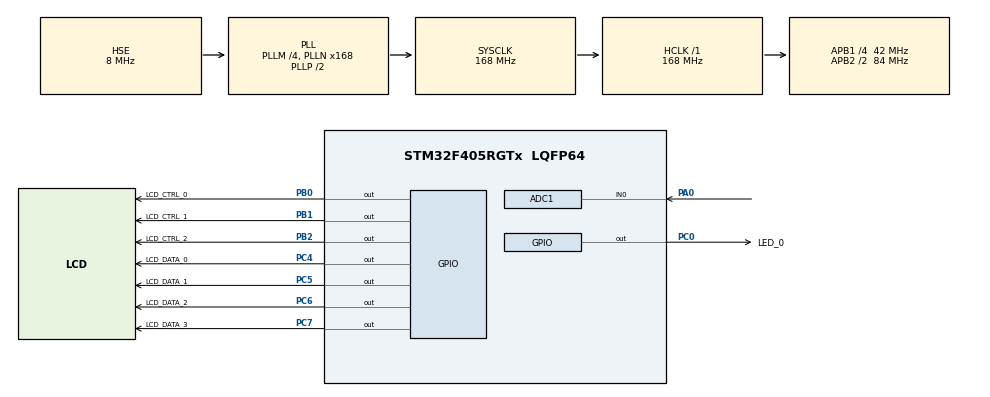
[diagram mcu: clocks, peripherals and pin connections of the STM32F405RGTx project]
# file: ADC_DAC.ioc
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ADC1.Channel-0\#ChannelRegularConversion=ADC_CHANNEL_0
ADC1.NbrOfConversion=1
ADC1.NbrOfConversionFlag=1
ADC1.Rank-0\#ChannelRegularConversion=1
ADC1.SamplingTime-0\#ChannelRegularConversion=ADC_SAMPLETIME_3CYCLES
ADC1.master=1
Mcu.Family=STM32F4
Mcu.Name=STM32F405RGTx
Mcu.Package=LQFP64
NVIC.PriorityGroup=NVIC_PRIORITYGROUP_4
PA0-WKUP.Signal=ADCx_IN0
PA13.Mode=Serial_Wire
PA13.Signal=SYS_JTMS-SWDIO
PA14.Mode=Serial_Wire
PA14.Signal=SYS_JTCK-SWCLK
PB0.GPIO_Label=LCD_CTRL_0
PB0.Signal=GPIO_Output
PB1.GPIO_Label=LCD_CTRL_1
PB1.Signal=GPIO_Output
PB2.GPIO_Label=LCD_CTRL_2
PB2.Signal=GPIO_Output
PC0.GPIO_Label=LED_0
PC0.Signal=GPIO_Output
PC4.GPIO_Label=LCD_DATA_0
PC4.Signal=GPIO_Output
PC5.GPIO_Label=LCD_DATA_1
PC5.Signal=GPIO_Output
PC6.GPIO_Label=LCD_DATA_2
PC6.Signal=GPIO_Output
PC7.GPIO_Label=LCD_DATA_3
PC7.Signal=GPIO_Output
PH0-OSC_IN.Mode=HSE-External-Oscillator
PH0-OSC_IN.Signal=RCC_OSC_IN
PH1-OSC_OUT.Mode=HSE-External-Oscillator
PH1-OSC_OUT.Signal=RCC_OSC_OUT
ProjectManager.HeapSize=0x200
ProjectManager.StackSize=0x400
ProjectManager.TargetToolchain=EWARM V8.32
RCC.48MHZClocksFreq_Value=84000000
RCC.AHBFreq_Value=168000000
RCC.APB1CLKDivider=RCC_HCLK_DIV4
RCC.APB1Freq_Value=42000000
RCC.APB1TimFreq_Value=84000000
RCC.APB2CLKDivider=RCC_HCLK_DIV2
RCC.APB2Freq_Value=84000000
RCC.APB2TimFreq_Value=168000000
RCC.CortexFreq_Value=168000000
RCC.HCLKFreq_Value=168000000
RCC.HSE_VALUE=8000000
RCC.HSI_VALUE=16000000
RCC.LSE_VALUE=32768
RCC.PLLM=4
RCC.PLLN=168
RCC.PLLSourceVirtual=RCC_PLLSOURCE_HSE
RCC.SYSCLKFreq_VALUE=168000000
RCC.SYSCLKSource=RCC_SYSCLKSOURCE_PLLCLK
RCC.VCOOutputFreq_Value=336000000
SH.ADCx_IN0.0=ADC1_IN0,IN0
board=custom

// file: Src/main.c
/* USER CODE BEGIN Header */
/**
  ******************************************************************************
  * @file           : main.c
  * @brief          : Main program body
  ******************************************************************************
  * @attention
  *
  * <h2><center>&copy; Copyright (c) 2020 STMicroelectronics.
  * All rights reserved.</center></h2>
  *
  * This software component is licensed by ST under BSD 3-Clause license,
  * the "License"; You may not use this file except in compliance with the
  * License. You may obtain a copy of the License at:
  *                        opensource.org/licenses/BSD-3-Clause
  *
  ******************************************************************************
  */
/* USER CODE END Header */

#include "main.h"
#include "adc.h"
#include "gpio.h"

/* USER CODE BEGIN Includes */
#include "lcd.h"
#include <stdio.h>
#include <string.h>
/* USER CODE END Includes */

/* USER CODE BEGIN PD */
#define BUF_MAX 16
/* USER CODE END PD */

/* USER CODE BEGIN PV */
char buffer[BUF_MAX];
/* USER CODE END PV */

void SystemClock_Config(void);

int main(void)
{

  /* MCU Configuration--------------------------------------------------------*/

  /* Reset of all peripherals, Initializes the Flash interface and the Systick. */
  HAL_Init();

  /* Configure the system clock */
  SystemClock_Config();

  /* Initialize all configured peripherals */
  MX_GPIO_Init();
  MX_ADC1_Init();
  /* USER CODE BEGIN 2 */
    lcdInit();

  /* USER CODE END 2 */

  /* Infinite loop */
  /* USER CODE BEGIN WHILE */
  while (1)
  {
      HAL_ADC_Start(&hadc1);
      HAL_ADC_PollForConversion(&hadc1, HAL_MAX_DELAY);
      uint16_t cdsValue = HAL_ADC_GetValue(&hadc1);
      HAL_ADC_Stop(&hadc1);

      sprintf(buffer, "CDS : %4d", cdsValue);
      lcdGotoXY(0, 0);
      lcdPrintData(buffer, strlen(buffer));

      if(cdsValue < 1000)
      {
          HAL_GPIO_WritePin(LED_0_GPIO_Port, LED_0_Pin, GPIO_PIN_SET);
      }
      else
      {
          HAL_GPIO_WritePin(LED_0_GPIO_Port, LED_0_Pin, GPIO_PIN_RESET);
      }
      HAL_Delay(333);
    /* USER CODE END WHILE */

  }
}

void SystemClock_Config(void)
{
  RCC_OscInitTypeDef RCC_OscInitStruct = {0};
  RCC_ClkInitTypeDef RCC_ClkInitStruct = {0};

  /** Configure the main internal regulator output voltage
  */
  __HAL_RCC_PWR_CLK_ENABLE();
  __HAL_PWR_VOLTAGESCALING_CONFIG(PWR_REGULATOR_VOLTAGE_SCALE1);
  /** Initializes the CPU, AHB and APB busses clocks
  */
  RCC_OscInitStruct.OscillatorType = RCC_OSCILLATORTYPE_HSE;
  RCC_OscInitStruct.HSEState = RCC_HSE_ON;
  RCC_OscInitStruct.PLL.PLLState = RCC_PLL_ON;
  RCC_OscInitStruct.PLL.PLLSource = RCC_PLLSOURCE_HSE;
  RCC_OscInitStruct.PLL.PLLM = 4;
  RCC_OscInitStruct.PLL.PLLN = 168;
  RCC_OscInitStruct.PLL.PLLP = RCC_PLLP_DIV2;
  RCC_OscInitStruct.PLL.PLLQ = 4;
  if (HAL_RCC_OscConfig(&RCC_OscInitStruct) != HAL_OK)
  {
    Error_Handler();
  }
  /** Initializes the CPU, AHB and APB busses clocks
  */
  RCC_ClkInitStruct.ClockType = RCC_CLOCKTYPE_HCLK|RCC_CLOCKTYPE_SYSCLK
                              |RCC_CLOCKTYPE_PCLK1|RCC_CLOCKTYPE_PCLK2;
  RCC_ClkInitStruct.SYSCLKSource = RCC_SYSCLKSOURCE_PLLCLK;
  RCC_ClkInitStruct.AHBCLKDivider = RCC_SYSCLK_DIV1;
  RCC_ClkInitStruct.APB1CLKDivider = RCC_HCLK_DIV4;
  RCC_ClkInitStruct.APB2CLKDivider = RCC_HCLK_DIV2;

  if (HAL_RCC_ClockConfig(&RCC_ClkInitStruct, FLASH_LATENCY_5) != HAL_OK)
  {
    Error_Handler();
  }
}

void Error_Handler(void)
{
}

/************************ (C) COPYRIGHT STMicroelectronics *****END OF FILE****/
